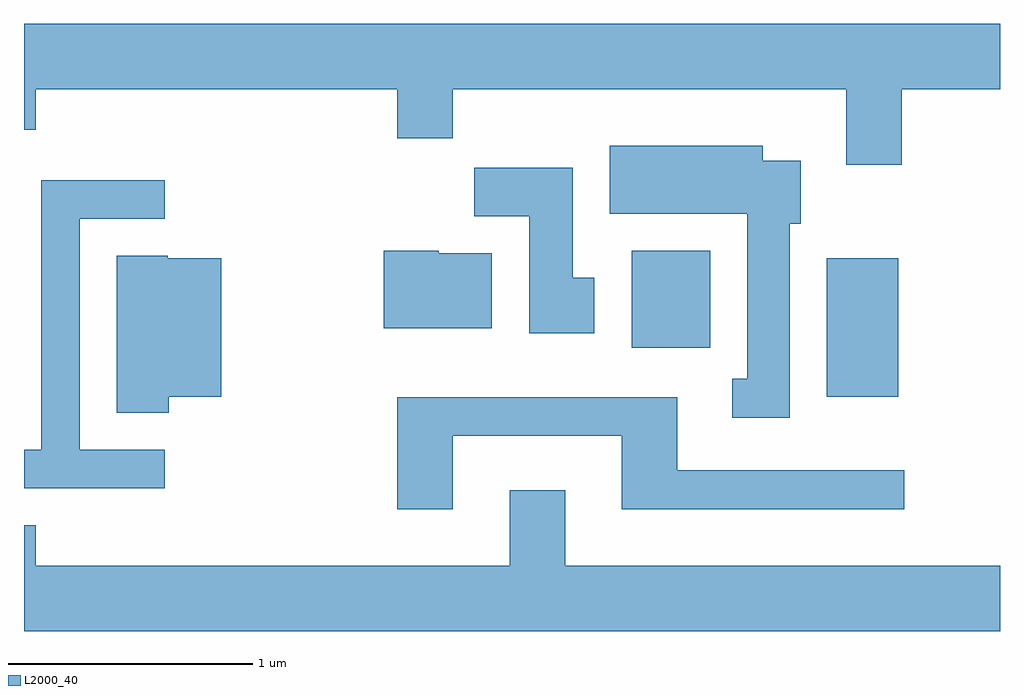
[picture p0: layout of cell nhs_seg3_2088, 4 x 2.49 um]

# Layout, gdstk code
import gdstk
lib = gdstk.Library(unit=1e-6, precision=1e-09)
def R(c, l, rs):  # rectangles x0, y0, x1, y1
    for r in rs: c.add(gdstk.rectangle(r[:2], r[2:], *l))
def P(c, l, *ps):  # polygons
    for p in ps: c.add(gdstk.Polygon(p, *l))
L2000_40 = (2000, 40)

nhs_seg3_2088 = lib.new_cell('nhs_seg3_2088')
R(nhs_seg3_2088, L2000_40, [(248.901,1213.556,249.194,1214.124), (248.101,1213.756,248.424,1214.154)])
P(nhs_seg3_2088, L2000_40, [(249.209,1214.816),(249.611,1214.816),(249.611,1215.084),(245.611,1215.084),(245.611,1214.651),(245.659,1214.651),(245.659,1214.816),(247.141,1214.816),(247.141,1214.616),(247.369,1214.616),(247.369,1214.816),(248.981,1214.816),(248.981,1214.506),(249.209,1214.506)],
  [(248.749,1214.266),(248.794,1214.266),(248.794,1214.524),(248.639,1214.524),(248.639,1214.584),(248.011,1214.584),(248.011,1214.306),(248.576,1214.306),(248.576,1213.629),(248.513,1213.629),(248.513,1213.471),(248.749,1213.471)],
  [(247.949,1214.044),(247.859,1214.044),(247.859,1214.494),(247.456,1214.494),(247.456,1214.296),(247.681,1214.296),(247.681,1213.816),(247.949,1213.816)],
  [(246.188,1213.339),(245.839,1213.339),(245.839,1214.286),(246.188,1214.286),(246.188,1214.444),(245.681,1214.444),(245.681,1213.339),(245.611,1213.339),(245.611,1213.181),(246.188,1213.181)],
  [(247.529,1214.144),(247.31,1214.144),(247.31,1214.154),(247.086,1214.154),(247.086,1213.836),(247.529,1213.836)],
  [(246.204,1213.556),(246.419,1213.556),(246.419,1214.124),(246.2,1214.124),(246.2,1214.134),(245.991,1214.134),(245.991,1213.491),(246.204,1213.491)],
  [(247.369,1213.396),(248.061,1213.396),(248.061,1213.096),(249.218,1213.096),(249.218,1213.254),(248.289,1213.254),(248.289,1213.554),(247.141,1213.554),(247.141,1213.096),(247.369,1213.096)],
  [(249.611,1212.864),(247.829,1212.864),(247.829,1213.174),(247.601,1213.174),(247.601,1212.864),(245.659,1212.864),(245.659,1213.029),(245.611,1213.029),(245.611,1212.596),(249.611,1212.596)])

lib.write_gds('nhs_seg3_2088.gds')
